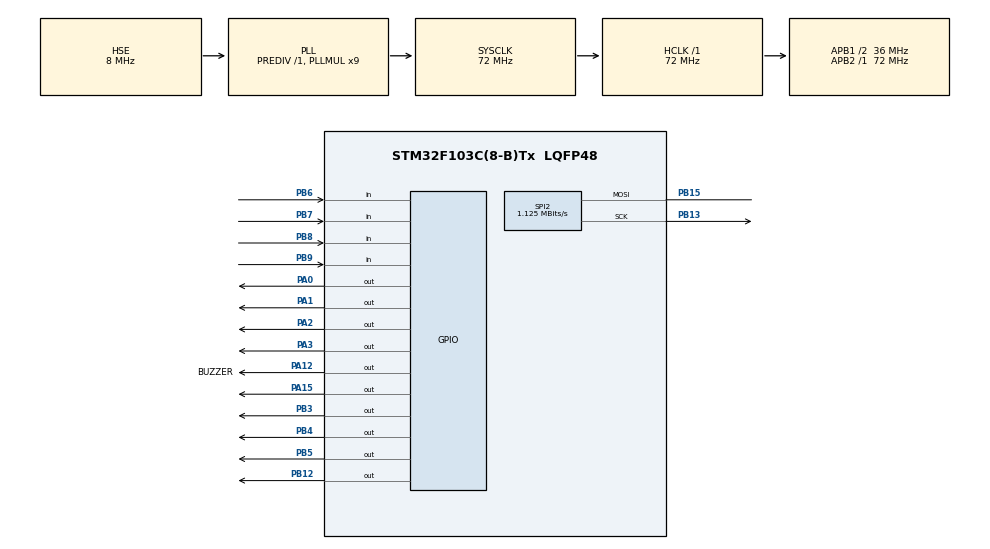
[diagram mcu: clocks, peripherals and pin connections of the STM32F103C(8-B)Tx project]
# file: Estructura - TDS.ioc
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Mcu.Family=STM32F1
Mcu.Name=STM32F103C(8-B)Tx
Mcu.Package=LQFP48
NVIC.PriorityGroup=NVIC_PRIORITYGROUP_4
PA0-WKUP.Signal=GPIO_Output
PA1.Signal=GPIO_Output
PA12.GPIO_Label=BUZZER
PA12.Signal=GPIO_Output
PA13.Mode=Serial_Wire
PA13.Signal=SYS_JTMS-SWDIO
PA14.Mode=Serial_Wire
PA14.Signal=SYS_JTCK-SWCLK
PA15.Signal=GPIO_Output
PA2.Signal=GPIO_Output
PA3.Signal=GPIO_Output
PB12.Signal=GPIO_Output
PB13.Mode=Simplex_Bidirectional_Master
PB13.Signal=SPI2_SCK
PB15.Mode=Simplex_Bidirectional_Master
PB15.Signal=SPI2_MOSI
PB3.Signal=GPIO_Output
PB4.Signal=GPIO_Output
PB5.Signal=GPIO_Output
PB6.GPIO_PuPd=GPIO_PULLDOWN
PB6.Signal=GPIO_Input
PB7.GPIO_PuPd=GPIO_PULLDOWN
PB7.Signal=GPIO_Input
PB8.GPIO_PuPd=GPIO_PULLDOWN
PB8.Signal=GPIO_Input
PB9.GPIO_PuPd=GPIO_PULLDOWN
PB9.Signal=GPIO_Input
PC14-OSC32_IN.Mode=LSE-External-Oscillator
PC14-OSC32_IN.Signal=RCC_OSC32_IN
PC15-OSC32_OUT.Mode=LSE-External-Oscillator
PC15-OSC32_OUT.Signal=RCC_OSC32_OUT
PD0-OSC_IN.Mode=HSE-External-Oscillator
PD0-OSC_IN.Signal=RCC_OSC_IN
PD1-OSC_OUT.Mode=HSE-External-Oscillator
PD1-OSC_OUT.Signal=RCC_OSC_OUT
ProjectManager.HeapSize=0x200
ProjectManager.StackSize=0x400
ProjectManager.TargetToolchain=STM32CubeIDE
RCC.AHBFreq_Value=72000000
RCC.APB1CLKDivider=RCC_HCLK_DIV2
RCC.APB1Freq_Value=36000000
RCC.APB1TimFreq_Value=72000000
RCC.APB2Freq_Value=72000000
RCC.APB2TimFreq_Value=72000000
RCC.HCLKFreq_Value=72000000
RCC.PLLMUL=RCC_PLL_MUL9
RCC.PLLSourceVirtual=RCC_PLLSOURCE_HSE
RCC.RTCClockSelection=RCC_RTCCLKSOURCE_LSE
RCC.SYSCLKFreq_VALUE=72000000
RCC.SYSCLKSource=RCC_SYSCLKSOURCE_PLLCLK
RCC.USBFreq_Value=72000000
SPI2.BaudRatePrescaler=SPI_BAUDRATEPRESCALER_32
SPI2.CalculateBaudRate=1.125 MBits/s
SPI2.Direction=SPI_DIRECTION_1LINE
SPI2.Mode=SPI_MODE_MASTER
SPI2.VirtualType=VM_MASTER
TIM4.Period=0xffff-1
TIM4.Prescaler=72-1
VP_RTC_No_RTC_Output.Mode=RTC_OUT_NO
VP_RTC_VS_RTC_Activate.Mode=RTC_Enabled
VP_RTC_VS_RTC_Calendar.Mode=RTC_Calendar
VP_TIM4_VS_ClockSourceINT.Mode=Internal
board=custom

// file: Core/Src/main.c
/* USER CODE BEGIN Header */
/**
  ******************************************************************************
  * @file           : main.c
  * @brief          : Main program body
  ******************************************************************************
  * @attention
  *
  * <h2><center>&copy; Copyright (c) 2021 STMicroelectronics.
  * All rights reserved.</center></h2>
  *
  * This software component is licensed by ST under BSD 3-Clause license,
  * the "License"; You may not use this file except in compliance with the
  * License. You may obtain a copy of the License at:
  *                        opensource.org/licenses/BSD-3-Clause
  *
  ******************************************************************************
  */
/* USER CODE END Header */
#include "main.h"

/* USER CODE BEGIN Includes */
#include "scheduler.h"
#include "arrebote.h"
#include "dwt.h"
#include "sha3.h"
/* USER CODE END Includes */

/* USER CODE BEGIN PD */
#define CICLO_SECUNDARIO_MS		(1)
#define LEN_TASK_LIST			(5)
#define PULSADOR_ACTIVO_BAJO	(1)
#define PULSADOR_TICS			(20)
#define PULSADOR_PUERTO			(GPIOB)
#define PULSADOR_PIN			(GPIO_PIN_0)
#define LED_PLACA_PUERTO		(GPIOC)
#define LED_PLACA_PIN			(GPIO_PIN_13)
#define LED_TICKS				(50)
#define LEN_BUFFER_SERIE		(128)
/* USER CODE END PD */

RTC_HandleTypeDef hrtc;

SPI_HandleTypeDef hspi2;

TIM_HandleTypeDef htim4;

/* USER CODE BEGIN PV */
	Scheduler scheduler;

	uint32_t ms_counter;
	uint32_t enviar_serie;
	uint32_t serie_disponible;
	uint8_t buffer_serie[LEN_BUFFER_SERIE];
	uint8_t* hash;
	arrebote pulsador;
	sha3_context c;

	uint8_t useless_var;

/* USER CODE END PV */

void SystemClock_Config(void);
static void MX_GPIO_Init(void);
static void MX_TIM4_Init(void);
static void MX_RTC_Init(void);
static void MX_SPI2_Init(void);
/* USER CODE BEGIN PFP */
void execute_instruction( void *dps);
/* USER CODE END PFP */

/* USER CODE BEGIN 0 */

void tarea_led(void *p){
	static uint32_t tics = LED_TICKS;
	if( tics == 0 ){
		tics = LED_TICKS;
		HAL_GPIO_TogglePin(LED_PLACA_PUERTO, LED_PLACA_PIN);
	}
	else {
		tics --;
	}
}
/* USER CODE END 0 */

int main(void)
{
  /* USER CODE BEGIN 1 */
	uint32_t ticks = 0;
	dummy_parameters dummy_params;
	dummy_params.user_chip8_under_test =  &user_chip8;

  /* USER CODE END 1 */

  /* Reset of all peripherals, Initializes the Flash interface and the Systick. */
  HAL_Init();

  /* Configure the system clock */
  SystemClock_Config();

  /* Initialize all configured peripherals */
  MX_GPIO_Init();
  MX_TIM4_Init();
  MX_RTC_Init();
  MX_SPI2_Init();
  /* USER CODE BEGIN 2 */
  init_graphics();
  init_system(dummy_params.user_chip8_under_test);
  load_rom(dummy_params.user_chip8_under_test);

  initScheduler( &scheduler, LEN_TASK_LIST);

	scheduler.addTask( &scheduler, process_user_input,  (dummy_params.user_chip8_under_test) ,0, 1, 0, _DEFAULT_SCHEDULER_WCET_ );
	scheduler.addTask( &scheduler, execute_instruction, &dummy_params,                        0, 1, 0, _DEFAULT_SCHEDULER_WCET_ );
	scheduler.addTask( &scheduler, actualizar_buzzer,   NULL,                                 0, 5, 0, _DEFAULT_SCHEDULER_WCET_ );

  ms_counter = HAL_GetTick();
  dwt_inic();

  /* USER CODE END 2 */

  /* Infinite loop */
  while (1)
  {
    /* USER CODE BEGIN 3   */
	  dwt_reset();
	  if( (HAL_GetTick()-ms_counter) >= CICLO_SECUNDARIO_MS ){
		  ms_counter = HAL_GetTick();
		  scheduler.run( &scheduler );
	  }
	  if( dwt_read() > ticks ){
		  ticks = dwt_read();
	  }
  }
  UNUSED(ticks);
  /* USER CODE END 3 */
}

void SystemClock_Config(void)
{
  RCC_OscInitTypeDef RCC_OscInitStruct = {0};
  RCC_ClkInitTypeDef RCC_ClkInitStruct = {0};
  RCC_PeriphCLKInitTypeDef PeriphClkInit = {0};

  /** Initializes the RCC Oscillators according to the specified parameters
  * in the RCC_OscInitTypeDef structure.
  */
  RCC_OscInitStruct.OscillatorType = RCC_OSCILLATORTYPE_HSE|RCC_OSCILLATORTYPE_LSE;
  RCC_OscInitStruct.HSEState = RCC_HSE_ON;
  RCC_OscInitStruct.HSEPredivValue = RCC_HSE_PREDIV_DIV1;
  RCC_OscInitStruct.LSEState = RCC_LSE_ON;
  RCC_OscInitStruct.HSIState = RCC_HSI_ON;
  RCC_OscInitStruct.PLL.PLLState = RCC_PLL_ON;
  RCC_OscInitStruct.PLL.PLLSource = RCC_PLLSOURCE_HSE;
  RCC_OscInitStruct.PLL.PLLMUL = RCC_PLL_MUL9;
  if (HAL_RCC_OscConfig(&RCC_OscInitStruct) != HAL_OK)
  {
    Error_Handler();
  }
  /** Initializes the CPU, AHB and APB buses clocks
  */
  RCC_ClkInitStruct.ClockType = RCC_CLOCKTYPE_HCLK|RCC_CLOCKTYPE_SYSCLK
                              |RCC_CLOCKTYPE_PCLK1|RCC_CLOCKTYPE_PCLK2;
  RCC_ClkInitStruct.SYSCLKSource = RCC_SYSCLKSOURCE_PLLCLK;
  RCC_ClkInitStruct.AHBCLKDivider = RCC_SYSCLK_DIV1;
  RCC_ClkInitStruct.APB1CLKDivider = RCC_HCLK_DIV2;
  RCC_ClkInitStruct.APB2CLKDivider = RCC_HCLK_DIV1;

  if (HAL_RCC_ClockConfig(&RCC_ClkInitStruct, FLASH_LATENCY_2) != HAL_OK)
  {
    Error_Handler();
  }
  PeriphClkInit.PeriphClockSelection = RCC_PERIPHCLK_RTC;
  PeriphClkInit.RTCClockSelection = RCC_RTCCLKSOURCE_LSE;
  if (HAL_RCCEx_PeriphCLKConfig(&PeriphClkInit) != HAL_OK)
  {
    Error_Handler();
  }
}

static void MX_RTC_Init(void)
{

  RTC_TimeTypeDef sTime = {0};
  RTC_DateTypeDef DateToUpdate = {0};

  /** Initialize RTC Only
  */
  hrtc.Instance = RTC;
  hrtc.Init.AsynchPrediv = RTC_AUTO_1_SECOND;
  hrtc.Init.OutPut = RTC_OUTPUTSOURCE_NONE;
  if (HAL_RTC_Init(&hrtc) != HAL_OK)
  {
    Error_Handler();
  }

  /** Initialize RTC and set the Time and Date
  */
  sTime.Hours = 0x0;
  sTime.Minutes = 0x0;
  sTime.Seconds = 0x0;

  if (HAL_RTC_SetTime(&hrtc, &sTime, RTC_FORMAT_BCD) != HAL_OK)
  {
    Error_Handler();
  }
  DateToUpdate.WeekDay = RTC_WEEKDAY_MONDAY;
  DateToUpdate.Month = RTC_MONTH_JANUARY;
  DateToUpdate.Date = 0x1;
  DateToUpdate.Year = 0x0;

  if (HAL_RTC_SetDate(&hrtc, &DateToUpdate, RTC_FORMAT_BCD) != HAL_OK)
  {
    Error_Handler();
  }

}

static void MX_SPI2_Init(void)
{

  /* SPI2 parameter configuration*/
  hspi2.Instance = SPI2;
  hspi2.Init.Mode = SPI_MODE_MASTER;
  hspi2.Init.Direction = SPI_DIRECTION_1LINE;
  hspi2.Init.DataSize = SPI_DATASIZE_8BIT;
  hspi2.Init.CLKPolarity = SPI_POLARITY_LOW;
  hspi2.Init.CLKPhase = SPI_PHASE_1EDGE;
  hspi2.Init.NSS = SPI_NSS_SOFT;
  hspi2.Init.BaudRatePrescaler = SPI_BAUDRATEPRESCALER_32;
  hspi2.Init.FirstBit = SPI_FIRSTBIT_MSB;
  hspi2.Init.TIMode = SPI_TIMODE_DISABLE;
  hspi2.Init.CRCCalculation = SPI_CRCCALCULATION_DISABLE;
  hspi2.Init.CRCPolynomial = 10;
  if (HAL_SPI_Init(&hspi2) != HAL_OK)
  {
    Error_Handler();
  }

}

static void MX_TIM4_Init(void)
{

  TIM_ClockConfigTypeDef sClockSourceConfig = {0};
  TIM_MasterConfigTypeDef sMasterConfig = {0};

  htim4.Instance = TIM4;
  htim4.Init.Prescaler = 72-1;
  htim4.Init.CounterMode = TIM_COUNTERMODE_UP;
  htim4.Init.Period = 0xffff-1;
  htim4.Init.ClockDivision = TIM_CLOCKDIVISION_DIV1;
  htim4.Init.AutoReloadPreload = TIM_AUTORELOAD_PRELOAD_DISABLE;
  if (HAL_TIM_Base_Init(&htim4) != HAL_OK)
  {
    Error_Handler();
  }
  sClockSourceConfig.ClockSource = TIM_CLOCKSOURCE_INTERNAL;
  if (HAL_TIM_ConfigClockSource(&htim4, &sClockSourceConfig) != HAL_OK)
  {
    Error_Handler();
  }
  sMasterConfig.MasterOutputTrigger = TIM_TRGO_RESET;
  sMasterConfig.MasterSlaveMode = TIM_MASTERSLAVEMODE_DISABLE;
  if (HAL_TIMEx_MasterConfigSynchronization(&htim4, &sMasterConfig) != HAL_OK)
  {
    Error_Handler();
  }

}

static void MX_GPIO_Init(void)
{
  GPIO_InitTypeDef GPIO_InitStruct = {0};

  /* GPIO Ports Clock Enable */
  __HAL_RCC_GPIOC_CLK_ENABLE();
  __HAL_RCC_GPIOD_CLK_ENABLE();
  __HAL_RCC_GPIOA_CLK_ENABLE();
  __HAL_RCC_GPIOB_CLK_ENABLE();

  /*Configure GPIO pin Output Level */
  HAL_GPIO_WritePin(GPIOA, GPIO_PIN_0|GPIO_PIN_1|GPIO_PIN_2|GPIO_PIN_3
                          |BUZZER_Pin|GPIO_PIN_15, GPIO_PIN_RESET);

  /*Configure GPIO pin Output Level */
  HAL_GPIO_WritePin(GPIOB, GPIO_PIN_12|GPIO_PIN_3|GPIO_PIN_4|GPIO_PIN_5, GPIO_PIN_RESET);

  /*Configure GPIO pins : PA0 PA1 PA2 PA3
                           BUZZER_Pin PA15 */
  GPIO_InitStruct.Pin = GPIO_PIN_0|GPIO_PIN_1|GPIO_PIN_2|GPIO_PIN_3
                          |BUZZER_Pin|GPIO_PIN_15;
  GPIO_InitStruct.Mode = GPIO_MODE_OUTPUT_PP;
  GPIO_InitStruct.Pull = GPIO_NOPULL;
  GPIO_InitStruct.Speed = GPIO_SPEED_FREQ_LOW;
  HAL_GPIO_Init(GPIOA, &GPIO_InitStruct);

  /*Configure GPIO pins : PB12 PB3 PB4 PB5 */
  GPIO_InitStruct.Pin = GPIO_PIN_12|GPIO_PIN_3|GPIO_PIN_4|GPIO_PIN_5;
  GPIO_InitStruct.Mode = GPIO_MODE_OUTPUT_PP;
  GPIO_InitStruct.Pull = GPIO_NOPULL;
  GPIO_InitStruct.Speed = GPIO_SPEED_FREQ_LOW;
  HAL_GPIO_Init(GPIOB, &GPIO_InitStruct);

  /*Configure GPIO pins : PB6 PB7 PB8 PB9 */
  GPIO_InitStruct.Pin = GPIO_PIN_6|GPIO_PIN_7|GPIO_PIN_8|GPIO_PIN_9;
  GPIO_InitStruct.Mode = GPIO_MODE_INPUT;
  GPIO_InitStruct.Pull = GPIO_PULLDOWN;
  HAL_GPIO_Init(GPIOB, &GPIO_InitStruct);

}

void Error_Handler(void)
{
  __disable_irq();
  while (1)
  {
  }
}

/************************ (C) COPYRIGHT STMicroelectronics *****END OF FILE****/
